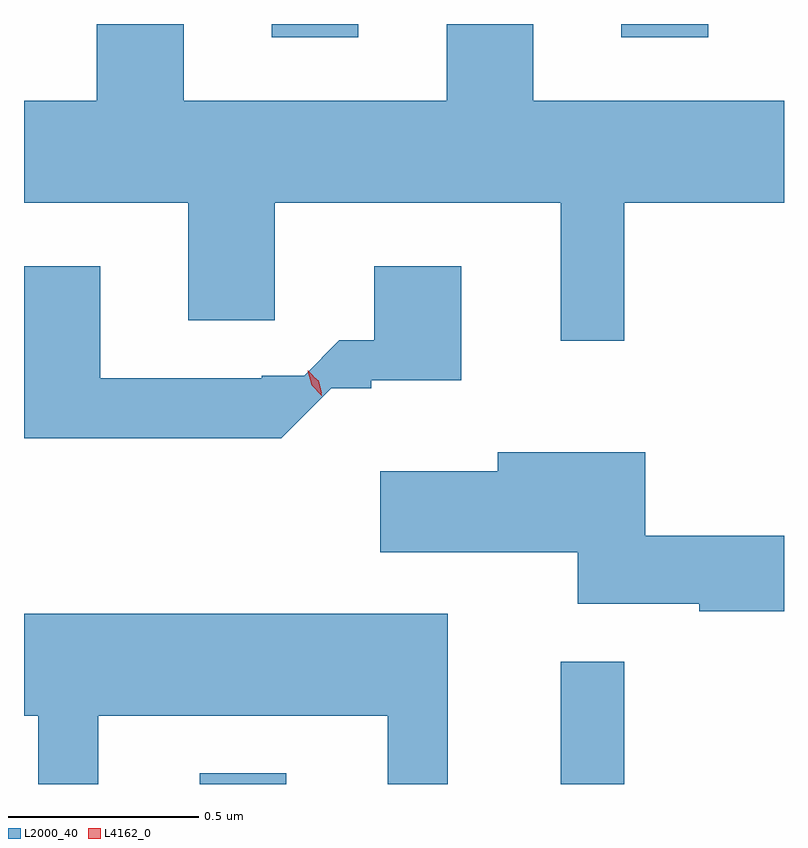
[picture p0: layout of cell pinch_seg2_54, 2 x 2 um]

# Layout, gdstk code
import gdstk
lib = gdstk.Library(unit=1e-6, precision=1e-09)
def R(c, l, rs):  # rectangles x0, y0, x1, y1
    for r in rs: c.add(gdstk.rectangle(r[:2], r[2:], *l))
def P(c, l, *ps):  # polygons
    for p in ps: c.add(gdstk.Polygon(p, *l))
L2000_40 = (2000, 40)
L4162_0 = (4162, 0)

pinch_seg2_54 = lib.new_cell('pinch_seg2_54')
R(pinch_seg2_54, L2000_40, [(1218.871,1106.726,1219.099,1106.754), (1219.821,1106.726,1219.989,1107.048), (1219.061,1108.691,1219.289,1108.726), (1219.981,1108.691,1220.209,1108.726)])
P(pinch_seg2_54, L2000_40, [(1219.989,1108.256),(1220.409,1108.256),(1220.409,1108.524),(1219.749,1108.524),(1219.749,1108.726),(1219.521,1108.726),(1219.521,1108.524),(1218.829,1108.524),(1218.829,1108.726),(1218.601,1108.726),(1218.601,1108.524),(1218.409,1108.524),(1218.409,1108.256),(1218.841,1108.256),(1218.841,1107.946),(1219.069,1107.946),(1219.069,1108.256),(1219.821,1108.256),(1219.821,1107.893),(1219.989,1107.893)],
  [(1219.217,1107.767),(1219.323,1107.767),(1219.323,1107.788),(1219.559,1107.788),(1219.559,1108.089),(1219.331,1108.089),(1219.331,1107.894),(1219.239,1107.894),(1219.146,1107.801),(1219.035,1107.801),(1219.035,1107.794),(1218.609,1107.794),(1218.609,1108.089),(1218.409,1108.089),(1218.409,1107.636),(1219.086,1107.636)],
  [(1220.409,1107.379),(1220.044,1107.379),(1220.044,1107.599),(1219.656,1107.599),(1219.656,1107.549),(1219.346,1107.549),(1219.346,1107.336),(1219.866,1107.336),(1219.866,1107.201),(1220.186,1107.201),(1220.186,1107.181),(1220.409,1107.181)],
  [(1218.604,1106.906),(1219.366,1106.906),(1219.366,1106.726),(1219.524,1106.726),(1219.524,1107.174),(1218.409,1107.174),(1218.409,1106.906),(1218.446,1106.906),(1218.446,1106.726),(1218.604,1106.726)])
P(pinch_seg2_54, L4162_0, [(1219.192,1107.748),(1219.166,1107.776),(1219.156,1107.813),(1219.156,1107.814),(1219.157,1107.814),(1219.183,1107.786),(1219.193,1107.749),(1219.193,1107.748)],
  [(1219.192,1107.755),(1219.191,1107.756),(1219.167,1107.776),(1219.159,1107.807),(1219.16,1107.808),(1219.16,1107.807),(1219.184,1107.787),(1219.192,1107.756)])

lib.write_gds('pinch_seg2_54.gds')
